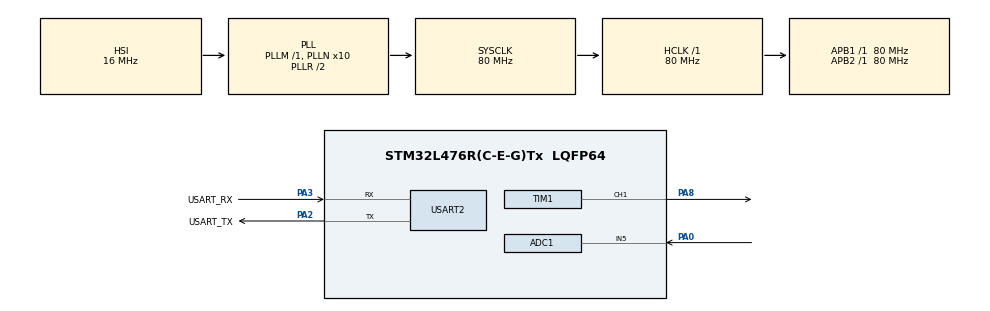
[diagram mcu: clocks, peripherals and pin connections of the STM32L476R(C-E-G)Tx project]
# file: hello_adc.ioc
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Mcu.Family=STM32L4
PA2.GPIO_PuPd=GPIO_NOPULL
VP_SYS_VS_tim6.Mode=TIM6
RCC.CortexFreq_Value=80000000
NVIC.TIM6_DAC_IRQn=true\:0\:0\:false\:false\:true\:false\:false\:true
PH0-OSC_IN\ (PH0).Signal=RCC_OSC_IN
PA3.GPIO_PuPd=GPIO_NOPULL
PA2.GPIO_Speed=GPIO_SPEED_FREQ_VERY_HIGH
PC15-OSC32_OUT\ (PC15).Mode=LSE-External-Oscillator
PA3.GPIO_Speed=GPIO_SPEED_FREQ_VERY_HIGH
RCC.SYSCLKSource=RCC_SYSCLKSOURCE_PLLCLK
ProjectManager.StackSize=0x400
PB3\ (JTDO-TRACESWO).Signal=SYS_JTDO-SWO
VP_FREERTOS_VS_CMSIS_V2.Mode=CMSIS_V2
PC14-OSC32_IN\ (PC14).Mode=LSE-External-Oscillator
PA14\ (JTCK-SWCLK).Signal=SYS_JTCK-SWCLK
TIM1.Prescaler=80 - 1
ADC1.Channel-3\#ChannelRegularConversion=ADC_CHANNEL_5
RCC.HCLKFreq_Value=80000000
RCC.APB2TimFreq_Value=80000000
RCC.AHBFreq_Value=80000000
RCC.PREFETCH_ENABLE=1
RCC.HSE_VALUE=8000000
USART2.VirtualMode-Asynchronous=VM_ASYNC
TIM1.Channel-PWM\ Generation1\ CH1=TIM_CHANNEL_1
PA8.Signal=S_TIM1_CH1
PA0.Signal=ADCx_IN5
Mcu.Package=LQFP64
NVIC.TimeBase=TIM6_DAC_IRQn
PA2.GPIO_Label=USART_TX
NVIC.TimeBaseIP=TIM6
RCC.APB1TimFreq_Value=80000000
TIM1.Period=20000
PA13\ (JTMS-SWDIO).Signal=SYS_JTMS-SWDIO
PA3.Signal=USART2_RX
PA2.GPIO_Mode=GPIO_MODE_AF_PP
RCC.MSI_VALUE=4000000
RCC.PLLSourceVirtual=RCC_PLLSOURCE_HSI
PA14\ (JTCK-SWCLK).Mode=Serial_Wire
FREERTOS.Tasks01=soundDemoTask,24,128,StartSoundDemoTask,Default,NULL,Dynamic,NULL,NULL
ADC1.OffsetNumber-3\#ChannelRegularConversion=ADC_OFFSET_NONE
PC15-OSC32_OUT\ (PC15).Signal=RCC_OSC32_OUT
PA14\ (JTCK-SWCLK).GPIO_Label=TCK
PB3\ (JTDO-TRACESWO).GPIO_Label=SWO
PH1-OSC_OUT\ (PH1).Signal=RCC_OSC_OUT
PA3.Mode=Asynchronous
SH.S_TIM1_CH1.0=TIM1_CH1,PWM Generation1 CH1
ProjectManager.TargetToolchain=STM32CubeIDE
PA3.GPIO_Mode=GPIO_MODE_AF_PP
RCC.USBFreq_Value=64000000
board=NUCLEO-L476RG
RCC.VCOOutputFreq_Value=160000000
RCC.APB2Freq_Value=80000000
PA13\ (JTMS-SWDIO).GPIO_Label=TMS
RCC.ADCFreq_Value=64000000
Mcu.Name=STM32L476R(C-E-G)Tx
PA2.Signal=USART2_TX
PA13\ (JTMS-SWDIO).Mode=Serial_Wire
RCC.SYSCLKFreq_VALUE=80000000
ADC1.master=1
ADC1.Rank-3\#ChannelRegularConversion=1
ADC1.SamplingTime-3\#ChannelRegularConversion=ADC_SAMPLETIME_2CYCLES_5
PC14-OSC32_IN\ (PC14).Signal=RCC_OSC32_IN
ProjectManager.HeapSize=0x200
RCC.HSI_VALUE=16000000
SH.ADCx_IN5.0=ADC1_IN5,IN5-Single-Ended
NVIC.PriorityGroup=NVIC_PRIORITYGROUP_4
ADC1.NbrOfConversionFlag=1
RCC.PLLN=10
PA2.Mode=Asynchronous
RCC.APB1Freq_Value=80000000
PA3.GPIO_Label=USART_RX

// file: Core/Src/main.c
/* USER CODE BEGIN Header */
/**
  ******************************************************************************
  * @file           : main.c
  * @brief          : Main program body
  ******************************************************************************
  * @attention
  *
  * <h2><center>&copy; Copyright (c) 2021 STMicroelectronics.
  * All rights reserved.</center></h2>
  *
  * This software component is licensed by ST under BSD 3-Clause license,
  * the "License"; You may not use this file except in compliance with the
  * License. You may obtain a copy of the License at:
  *                        opensource.org/licenses/BSD-3-Clause
  *
  ******************************************************************************
  */
/* USER CODE END Header */
#include "main.h"
#include "cmsis_os.h"

/* USER CODE BEGIN Includes */
#include <stdlib.h>
#include <string.h>
/* USER CODE END Includes */

/* USER CODE BEGIN PTD */
#ifdef __GNUC__
	#define PUTCHAR_PROTOTYPE int __io_putchar(int ch)
#else
	#define PUTCHAR_PROTOTYPE int fputc(int ch, FILE *f)
#endif /* __GNUC__ */
/* USER CODE END PTD */

ADC_HandleTypeDef hadc1;

TIM_HandleTypeDef htim1;

UART_HandleTypeDef huart2;

/* Definitions for soundDemoTask */
osThreadId_t soundDemoTaskHandle;
const osThreadAttr_t soundDemoTask_attributes = {
  .name = "soundDemoTask",
  .stack_size = 128 * 4,
  .priority = (osPriority_t) osPriorityNormal,
};

void SystemClock_Config(void);
static void MX_GPIO_Init(void);
static void MX_USART2_UART_Init(void);
static void MX_TIM1_Init(void);
static void MX_ADC1_Init(void);
void StartSoundDemoTask(void *argument);

/* USER CODE BEGIN 0 */
PUTCHAR_PROTOTYPE
{
	HAL_UART_Transmit(&huart2, (uint8_t *)&ch, 1, 0xFFFF);
	return ch;
}

// 12-bit ADC raw value
volatile uint16_t adc_raw;

#define ADC_BUFF_LENGTH 1024
uint16_t adc_buff[ADC_BUFF_LENGTH];

/* USER CODE END 0 */

int main(void)
{

  /* MCU Configuration--------------------------------------------------------*/

  /* Reset of all peripherals, Initializes the Flash interface and the Systick. */
  HAL_Init();

  /* Configure the system clock */
  SystemClock_Config();

  /* Initialize all configured peripherals */
  MX_GPIO_Init();
  MX_USART2_UART_Init();
  MX_TIM1_Init();
  MX_ADC1_Init();
  /* USER CODE BEGIN 2 */

  //HAL_ADC_Start_DMA(&hadc1, (uint32_t *)adc_buff, ADC_BUFF_LENGTH);
  /* USER CODE END 2 */

  /* Init scheduler */
  osKernelInitialize();

  /* Create the thread(s) */
  /* creation of soundDemoTask */
  soundDemoTaskHandle = osThreadNew(StartSoundDemoTask, NULL, &soundDemoTask_attributes);

  /* Start scheduler */
  osKernelStart();

  /* We should never get here as control is now taken by the scheduler */
  /* Infinite loop */
  while (1)
  {

  }
}

void SystemClock_Config(void)
{
  RCC_OscInitTypeDef RCC_OscInitStruct = {0};
  RCC_ClkInitTypeDef RCC_ClkInitStruct = {0};
  RCC_PeriphCLKInitTypeDef PeriphClkInit = {0};

  /** Initializes the RCC Oscillators according to the specified parameters
  * in the RCC_OscInitTypeDef structure.
  */
  RCC_OscInitStruct.OscillatorType = RCC_OSCILLATORTYPE_HSI;
  RCC_OscInitStruct.HSIState = RCC_HSI_ON;
  RCC_OscInitStruct.HSICalibrationValue = RCC_HSICALIBRATION_DEFAULT;
  RCC_OscInitStruct.PLL.PLLState = RCC_PLL_ON;
  RCC_OscInitStruct.PLL.PLLSource = RCC_PLLSOURCE_HSI;
  RCC_OscInitStruct.PLL.PLLM = 1;
  RCC_OscInitStruct.PLL.PLLN = 10;
  RCC_OscInitStruct.PLL.PLLP = RCC_PLLP_DIV7;
  RCC_OscInitStruct.PLL.PLLQ = RCC_PLLQ_DIV2;
  RCC_OscInitStruct.PLL.PLLR = RCC_PLLR_DIV2;
  if (HAL_RCC_OscConfig(&RCC_OscInitStruct) != HAL_OK)
  {
    Error_Handler();
  }
  /** Initializes the CPU, AHB and APB buses clocks
  */
  RCC_ClkInitStruct.ClockType = RCC_CLOCKTYPE_HCLK|RCC_CLOCKTYPE_SYSCLK
                              |RCC_CLOCKTYPE_PCLK1|RCC_CLOCKTYPE_PCLK2;
  RCC_ClkInitStruct.SYSCLKSource = RCC_SYSCLKSOURCE_PLLCLK;
  RCC_ClkInitStruct.AHBCLKDivider = RCC_SYSCLK_DIV1;
  RCC_ClkInitStruct.APB1CLKDivider = RCC_HCLK_DIV1;
  RCC_ClkInitStruct.APB2CLKDivider = RCC_HCLK_DIV1;

  if (HAL_RCC_ClockConfig(&RCC_ClkInitStruct, FLASH_LATENCY_4) != HAL_OK)
  {
    Error_Handler();
  }
  PeriphClkInit.PeriphClockSelection = RCC_PERIPHCLK_USART2|RCC_PERIPHCLK_ADC;
  PeriphClkInit.Usart2ClockSelection = RCC_USART2CLKSOURCE_PCLK1;
  PeriphClkInit.AdcClockSelection = RCC_ADCCLKSOURCE_PLLSAI1;
  PeriphClkInit.PLLSAI1.PLLSAI1Source = RCC_PLLSOURCE_HSI;
  PeriphClkInit.PLLSAI1.PLLSAI1M = 1;
  PeriphClkInit.PLLSAI1.PLLSAI1N = 8;
  PeriphClkInit.PLLSAI1.PLLSAI1P = RCC_PLLP_DIV7;
  PeriphClkInit.PLLSAI1.PLLSAI1Q = RCC_PLLQ_DIV2;
  PeriphClkInit.PLLSAI1.PLLSAI1R = RCC_PLLR_DIV2;
  PeriphClkInit.PLLSAI1.PLLSAI1ClockOut = RCC_PLLSAI1_ADC1CLK;
  if (HAL_RCCEx_PeriphCLKConfig(&PeriphClkInit) != HAL_OK)
  {
    Error_Handler();
  }
  /** Configure the main internal regulator output voltage
  */
  if (HAL_PWREx_ControlVoltageScaling(PWR_REGULATOR_VOLTAGE_SCALE1) != HAL_OK)
  {
    Error_Handler();
  }
}

static void MX_ADC1_Init(void)
{

  ADC_MultiModeTypeDef multimode = {0};
  ADC_ChannelConfTypeDef sConfig = {0};

  /** Common config
  */
  hadc1.Instance = ADC1;
  hadc1.Init.ClockPrescaler = ADC_CLOCK_ASYNC_DIV1;
  hadc1.Init.Resolution = ADC_RESOLUTION_12B;
  hadc1.Init.DataAlign = ADC_DATAALIGN_RIGHT;
  hadc1.Init.ScanConvMode = ADC_SCAN_DISABLE;
  hadc1.Init.EOCSelection = ADC_EOC_SINGLE_CONV;
  hadc1.Init.LowPowerAutoWait = DISABLE;
  hadc1.Init.ContinuousConvMode = DISABLE;
  hadc1.Init.NbrOfConversion = 1;
  hadc1.Init.DiscontinuousConvMode = DISABLE;
  hadc1.Init.ExternalTrigConv = ADC_SOFTWARE_START;
  hadc1.Init.ExternalTrigConvEdge = ADC_EXTERNALTRIGCONVEDGE_NONE;
  hadc1.Init.DMAContinuousRequests = DISABLE;
  hadc1.Init.Overrun = ADC_OVR_DATA_PRESERVED;
  hadc1.Init.OversamplingMode = DISABLE;
  if (HAL_ADC_Init(&hadc1) != HAL_OK)
  {
    Error_Handler();
  }
  /** Configure the ADC multi-mode
  */
  multimode.Mode = ADC_MODE_INDEPENDENT;
  if (HAL_ADCEx_MultiModeConfigChannel(&hadc1, &multimode) != HAL_OK)
  {
    Error_Handler();
  }
  /** Configure Regular Channel
  */
  sConfig.Channel = ADC_CHANNEL_5;
  sConfig.Rank = ADC_REGULAR_RANK_1;
  sConfig.SamplingTime = ADC_SAMPLETIME_2CYCLES_5;
  sConfig.SingleDiff = ADC_SINGLE_ENDED;
  sConfig.OffsetNumber = ADC_OFFSET_NONE;
  sConfig.Offset = 0;
  if (HAL_ADC_ConfigChannel(&hadc1, &sConfig) != HAL_OK)
  {
    Error_Handler();
  }

}

static void MX_TIM1_Init(void)
{

  TIM_MasterConfigTypeDef sMasterConfig = {0};
  TIM_OC_InitTypeDef sConfigOC = {0};
  TIM_BreakDeadTimeConfigTypeDef sBreakDeadTimeConfig = {0};

  htim1.Instance = TIM1;
  htim1.Init.Prescaler = 80 - 1;
  htim1.Init.CounterMode = TIM_COUNTERMODE_UP;
  htim1.Init.Period = 20000;
  htim1.Init.ClockDivision = TIM_CLOCKDIVISION_DIV1;
  htim1.Init.RepetitionCounter = 0;
  htim1.Init.AutoReloadPreload = TIM_AUTORELOAD_PRELOAD_DISABLE;
  if (HAL_TIM_PWM_Init(&htim1) != HAL_OK)
  {
    Error_Handler();
  }
  sMasterConfig.MasterOutputTrigger = TIM_TRGO_RESET;
  sMasterConfig.MasterOutputTrigger2 = TIM_TRGO2_RESET;
  sMasterConfig.MasterSlaveMode = TIM_MASTERSLAVEMODE_DISABLE;
  if (HAL_TIMEx_MasterConfigSynchronization(&htim1, &sMasterConfig) != HAL_OK)
  {
    Error_Handler();
  }
  sConfigOC.OCMode = TIM_OCMODE_PWM1;
  sConfigOC.Pulse = 0;
  sConfigOC.OCPolarity = TIM_OCPOLARITY_HIGH;
  sConfigOC.OCNPolarity = TIM_OCNPOLARITY_HIGH;
  sConfigOC.OCFastMode = TIM_OCFAST_DISABLE;
  sConfigOC.OCIdleState = TIM_OCIDLESTATE_RESET;
  sConfigOC.OCNIdleState = TIM_OCNIDLESTATE_RESET;
  if (HAL_TIM_PWM_ConfigChannel(&htim1, &sConfigOC, TIM_CHANNEL_1) != HAL_OK)
  {
    Error_Handler();
  }
  sBreakDeadTimeConfig.OffStateRunMode = TIM_OSSR_DISABLE;
  sBreakDeadTimeConfig.OffStateIDLEMode = TIM_OSSI_DISABLE;
  sBreakDeadTimeConfig.LockLevel = TIM_LOCKLEVEL_OFF;
  sBreakDeadTimeConfig.DeadTime = 0;
  sBreakDeadTimeConfig.BreakState = TIM_BREAK_DISABLE;
  sBreakDeadTimeConfig.BreakPolarity = TIM_BREAKPOLARITY_HIGH;
  sBreakDeadTimeConfig.BreakFilter = 0;
  sBreakDeadTimeConfig.Break2State = TIM_BREAK2_DISABLE;
  sBreakDeadTimeConfig.Break2Polarity = TIM_BREAK2POLARITY_HIGH;
  sBreakDeadTimeConfig.Break2Filter = 0;
  sBreakDeadTimeConfig.AutomaticOutput = TIM_AUTOMATICOUTPUT_DISABLE;
  if (HAL_TIMEx_ConfigBreakDeadTime(&htim1, &sBreakDeadTimeConfig) != HAL_OK)
  {
    Error_Handler();
  }
  HAL_TIM_MspPostInit(&htim1);

}

static void MX_USART2_UART_Init(void)
{

  huart2.Instance = USART2;
  huart2.Init.BaudRate = 115200;
  huart2.Init.WordLength = UART_WORDLENGTH_8B;
  huart2.Init.StopBits = UART_STOPBITS_1;
  huart2.Init.Parity = UART_PARITY_NONE;
  huart2.Init.Mode = UART_MODE_TX_RX;
  huart2.Init.HwFlowCtl = UART_HWCONTROL_NONE;
  huart2.Init.OverSampling = UART_OVERSAMPLING_16;
  huart2.Init.OneBitSampling = UART_ONE_BIT_SAMPLE_DISABLE;
  huart2.AdvancedInit.AdvFeatureInit = UART_ADVFEATURE_NO_INIT;
  if (HAL_UART_Init(&huart2) != HAL_OK)
  {
    Error_Handler();
  }

}

static void MX_GPIO_Init(void)
{

  /* GPIO Ports Clock Enable */
  __HAL_RCC_GPIOC_CLK_ENABLE();
  __HAL_RCC_GPIOH_CLK_ENABLE();
  __HAL_RCC_GPIOA_CLK_ENABLE();
  __HAL_RCC_GPIOB_CLK_ENABLE();

}

/* USER CODE BEGIN 4 */
void HAL_ADC_ConvHalfCpltCallback(ADC_HandleTypeDef* hadc)
{

}

void HAL_ADC_ConvCpltCallback(ADC_HandleTypeDef* hadc)
{

}

/* USER CODE END 4 */

void StartSoundDemoTask(void *argument)
{
  /* USER CODE BEGIN 5 */
  /* Infinite loop */
  for(;;)
  {

  	HAL_ADC_Start(&hadc1);
  	HAL_ADC_PollForConversion(&hadc1, HAL_MAX_DELAY);
  	adc_raw = HAL_ADC_GetValue(&hadc1);
  	//HAL_UART_Transmit(&huart2, (uint8_t *)&adc_raw, 2, HAL_MAX_DELAY);
    printf("%u\r\n", adc_raw);
  	osDelay(10);

  	//HAL_ADC_Start(&hadc1);
  }
  /* USER CODE END 5 */
}

 /**
  * @brief  Period elapsed callback in non blocking mode
  * @note   This function is called  when TIM6 interrupt took place, inside
  * HAL_TIM_IRQHandler(). It makes a direct call to HAL_IncTick() to increment
  * a global variable "uwTick" used as application time base.
  * @param  htim : TIM handle
  * @retval None
  */
void HAL_TIM_PeriodElapsedCallback(TIM_HandleTypeDef *htim)
{
  if (htim->Instance == TIM6) {
    HAL_IncTick();
  }
}

void Error_Handler(void)
{
  __disable_irq();
  while (1)
  {
  }
}

/************************ (C) COPYRIGHT STMicroelectronics *****END OF FILE****/
